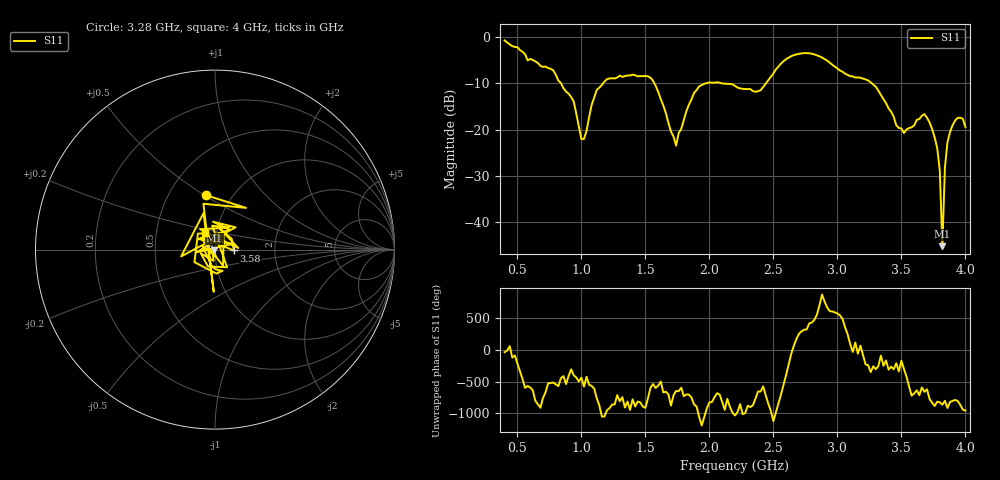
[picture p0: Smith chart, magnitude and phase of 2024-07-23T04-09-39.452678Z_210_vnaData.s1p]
!Created with skrf (http://scikit-rf.org).
# Hz S RI R 50.0
!freq ReS11 ImS11
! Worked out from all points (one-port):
!   181 points, 400 MHz to 4 GHz, reference 50 ohm
!   lowest |S11| = -45.2 dB at 3.82 GHz (marker M1), VSWR 1.01, Z = 49.6 - j0.315 ohm
!   |S11| at or under -10 dB: 1.57 GHz to 1.978 GHz (408.1 MHz wide, 23 % of centre); 2.093 GHz to 2.443 GHz (349.5 MHz wide, 15.4 % of centre); 3.268 GHz to end of sweep (the widest 3 of 4)
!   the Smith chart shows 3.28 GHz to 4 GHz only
!   S11 on the Smith chart (normalised r, x): 3.28 GHz: 0.76, +0.51; 3.58 GHz: 1.24, -0.01; 4 GHz: 0.88, +0.16
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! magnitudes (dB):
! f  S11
! 400 MHz  -0.8
! 780 MHz  -7.2
! 860 MHz  -11.1
! 940 MHz  -13.9
! 1 GHz  -22.1
! 1.02 GHz  -22.0
! 1.12 GHz  -11.4
! 1.3 GHz  -8.4
! 1.54 GHz  -8.8
! 1.74 GHz  -23.5
! 1.76 GHz  -20.8
! 1.92 GHz  -10.7
! 2.2 GHz  -10.6
! 2.4 GHz  -11.5
! 2.66 GHz  -3.9
! 3.1 GHz  -8.5
! 3.28 GHz  -10.3
! 3.46 GHz  -19.1
! 3.56 GHz  -19.7
! 3.58 GHz  -19.5
! 3.68 GHz  -16.7
! 3.76 GHz  -21.7
! 3.8 GHz  -28.8
! 3.82 GHz  -45.2
! 3.84 GHz  -28.2
! 3.86 GHz  -22.7
! 3.94 GHz  -17.5
! 4 GHz  -19.4
